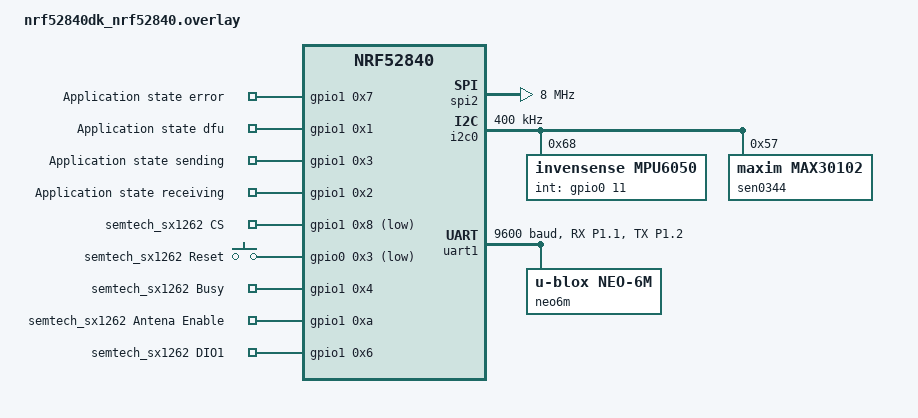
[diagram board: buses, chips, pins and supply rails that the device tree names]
/*
 * Copyright (c) 2023 Nordic Semiconductor ASA
 *
 * SPDX-License-Identifier: LicenseRef-Nordic-5-Clause
 */

&spi3 {
	status = "disabled";
};

sid_semtech: &spi2 {
	compatible = "nordic,nrf-spim";
	status = "okay";
	pinctrl-0 = <&spi2_default>;
	pinctrl-1 = <&spi2_sleep>;
	pinctrl-names = "default", "sleep";
	clock-frequency = <DT_FREQ_M(8)>;
};

/{
	state_notifier_gpios{
		compatible = "gpio-keys";
		state_notifier_error: error  {
			gpios = <&gpio1 0x7 0x0>;
			label = "Application state error";
		};
		state_notifier_dfu: dfu  {
			gpios = <&gpio1 0x1 0x0>;
			label = "Application state dfu";
		};
		state_notifier_sending: sending  {
			gpios = <&gpio1 0x3 0x0>;
			label = "Application state sending";
		};
		state_notifier_receiving: receiving  {
			gpios = <&gpio1 0x2 0x0>;
			label = "Application state receiving";
		};
	};

	aliases {
		state-notifier-connected = &led0;
		state-notifier-time-sync = &led1;
		state-notifier-registered = &led2;
		state-notifier-working = &led3;
		state-notifier-error = &state_notifier_error;
		state-notifier-dfu = &state_notifier_dfu;
		state-notifier-sending = &state_notifier_sending;
		state-notifier-receiving = &state_notifier_receiving;
	};

	semtech_sx1262_gpios{
		compatible = "gpio-keys";
		semtech_sx1262_cs: cs {
			gpios = <&gpio1 0x8 GPIO_ACTIVE_LOW>;
			label = "semtech_sx1262 CS";
		};
		semtech_sx1262_reset_gpios: reset {
			gpios = <&gpio0 0x3 GPIO_ACTIVE_LOW>;
			label = "semtech_sx1262 Reset";
		};
		semtech_sx1262_busy_gpios: busy {
			gpios = <&gpio1 0x4 GPIO_ACTIVE_HIGH>;
			label = "semtech_sx1262 Busy";
		};
		semtech_sx1262_antenna_enable_gpios: antena_enable {
			gpios = <&gpio1 0xa GPIO_ACTIVE_HIGH>;
			label = "semtech_sx1262 Antena Enable";
		};
		semtech_sx1262_dio1_gpios: dio1 {
			gpios = <&gpio1 0x6 GPIO_ACTIVE_HIGH>;
			label = "semtech_sx1262 DIO1";
		};
	};

	chosen {
		nordic,pm-ext-flash = &mx25r64;
	};
};

&spi2_default {
	group1 {
		psels = <NRF_PSEL(SPIM_SCK, 1, 15)>,
		        <NRF_PSEL(SPIM_MISO, 1, 14)>,
		        <NRF_PSEL(SPIM_MOSI, 1, 13)>;
	};
};

&spi2_sleep {
	group1 {
		psels = <NRF_PSEL(SPIM_SCK, 1, 15)>,
		        <NRF_PSEL(SPIM_MISO, 1, 14)>,
		        <NRF_PSEL(SPIM_MOSI, 1, 13)>;
		low-power-enable;
	};
};

/* ==========================================================================
 * Sensors Variant Configuration (for CONFIG_SID_END_DEVICE_SENSOR_MONITORING)
 * I2C sensors: MPU6050 (IMU), SEN0344 (Heart Rate/SpO2)
 * UART: NEO-6M GPS module (optional)
 * ========================================================================== */

/* Enable I2C0 for sensor communication */
&i2c0 {
	compatible = "nordic,nrf-twi";
	status = "okay";
	clock-frequency = <I2C_BITRATE_FAST>;

	/* MPU6050 IMU - I2C address 0x68 (AD0 pin low) */
	mpu6050: mpu6050@68 {
		compatible = "invensense,mpu6050";
		reg = <0x68>;
		status = "okay";
		int-gpios = <&gpio0 11 GPIO_ACTIVE_HIGH>;
	};

	/* SEN0344 Heart Rate / SpO2 Sensor (MAX30102) - I2C address 0x57 */
	sen0344: sen0344@57 {
		compatible = "maxim,max30102";
		reg = <0x57>;
		status = "okay";
	};
};

/* UART1 for NEO-6M GPS module */
&uart1 {
	status = "okay";
	current-speed = <9600>;
	pinctrl-0 = <&uart1_default>;
	pinctrl-1 = <&uart1_sleep>;
	pinctrl-names = "default", "sleep";

	neo6m: neo6m {
		compatible = "u-blox,neo-6m";
		status = "okay";
	};
};

/* UART1 pin configuration for GPS */
&pinctrl {
	uart1_default: uart1_default {
		group1 {
			psels = <NRF_PSEL(UART_RX, 1, 1)>;
			bias-pull-up;
		};
		group2 {
			psels = <NRF_PSEL(UART_TX, 1, 2)>;
		};
	};

	uart1_sleep: uart1_sleep {
		group1 {
			psels = <NRF_PSEL(UART_RX, 1, 1)>,
			        <NRF_PSEL(UART_TX, 1, 2)>;
			low-power-enable;
		};
	};
};
